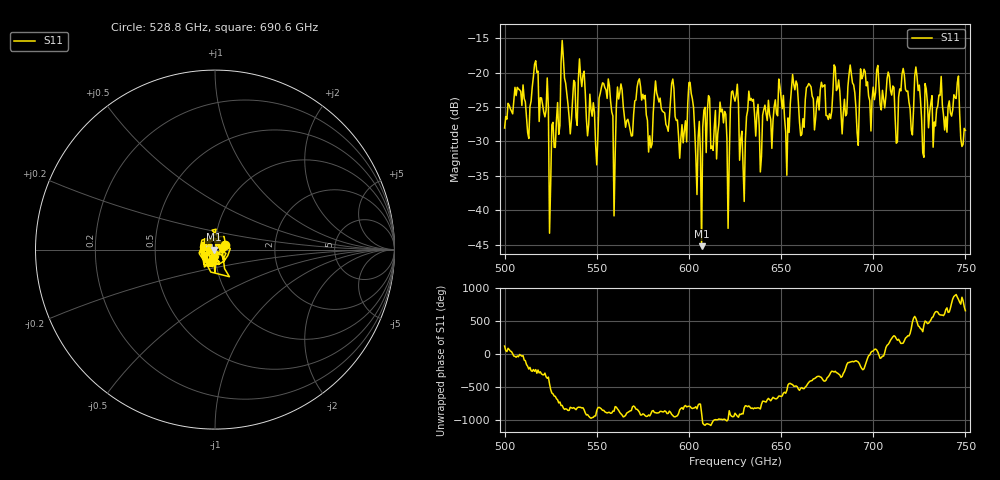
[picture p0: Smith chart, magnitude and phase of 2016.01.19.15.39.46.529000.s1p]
!Created with skrf (http://scikit-rf.org).
# GHz S RI R 50.0
!freq ReS11 ImS11
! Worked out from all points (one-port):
!   401 points, 500 GHz to 750 GHz, reference 50 ohm
!   lowest |S11| = -45.2 dB at 606.9 GHz (marker M1), VSWR 1.01, Z = 49.5 - j0.0126 ohm
!   |S11| at or under -10 dB: start of sweep to end of sweep
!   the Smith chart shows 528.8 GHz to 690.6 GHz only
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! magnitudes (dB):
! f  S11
! 500 GHz  -28.0
! 513.1 GHz  -29.6
! 516.9 GHz  -18.3
! 525.6 GHz  -27.6
! 531.2 GHz  -15.3
! 549.4 GHz  -30.5
! 555.6 GHz  -23.7
! 559.4 GHz  -40.8
! 562.5 GHz  -22.9
! 593.8 GHz  -26.9
! 601.2 GHz  -23.0
! 606.9 GHz  -45.2
! 618.1 GHz  -25.3
! 621.2 GHz  -42.6
! 625 GHz  -24.1
! 628.8 GHz  -28.5
! 633.8 GHz  -23.7
! 639.4 GHz  -32.2
! 650 GHz  -23.6
! 653.1 GHz  -34.9
! 656.2 GHz  -20.3
! 661.2 GHz  -29.0
! 687.5 GHz  -18.9
! 691.2 GHz  -28.7
! 694.4 GHz  -20.5
! 718.8 GHz  -22.7
! 745 GHz  -23.8
! 750 GHz  -28.4
